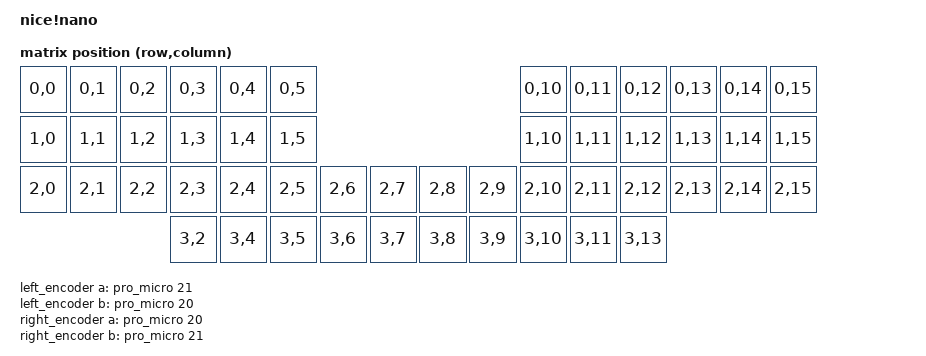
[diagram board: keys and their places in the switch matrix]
/*
 * Copyright (c) 2021 The ZMK Contributors
 *
 * SPDX-License-Identifier: MIT
 */

/dts-v1/;

#include <nordic/nrf52840_qiaa.dtsi>
#include "arduino_pro_micro_pins.dtsi"
#include <dt-bindings/zmk/matrix_transform.h>

/ {
	model = "nice!nano";
	compatible = "nice,nano";

	chosen {
		zephyr,code-partition = &code_partition;
		zephyr,sram = &sram0;
		zephyr,flash = &flash0;
		zmk,underglow = &led_strip;
        zmk,kscan = &kscan0;
        zmk,matrix_transform = &default_transform;
	};

	kscan0: kscan {
		compatible = "zmk,kscan-gpio-matrix";
		label = "KSCAN";

		diode-direction = "col2row";
	};

	leds {
		compatible = "gpio-leds";
		blue_led: led_0 {
			gpios = <&gpio0 15 GPIO_ACTIVE_HIGH>;
			label = "Blue LED";
		};
	};

	ext-power {
    		compatible = "zmk,ext-power-generic";
    		label = "EXT_POWER";
    		control-gpios = <&gpio0 13 GPIO_ACTIVE_HIGH>;
    		init-delay-ms = <50>;
    	};

    	vbatt {
    		compatible = "zmk,battery-nrf-vddh";
    		label = "BATTERY";
    	};



	left_encoder: encoder_left {
		compatible = "alps,ec11";
		label = "LEFT_ENCODER";
		resolution = <4>;
		status = "disabled";
	};

	right_encoder: encoder_right {
		compatible = "alps,ec11";
		label = "RIGHT_ENCODER";
		resolution = <4>;
		status = "disabled";
	};

	sensors {
		compatible = "zmk,keymap-sensors";
		sensors = <&left_encoder &right_encoder>;
	};

	// TODO: RGB node(s)

	default_transform: keymap_transform_0 {
    		compatible = "zmk,matrix-transform";
    		columns = <16>;
    		rows = <4>;
    // | MX6  | MX5  | MX4  | MX3  | MX2  | MX1  |                               | MX1  | MX2  | MX3  | MX4  | MX5  | MX6  |
    // | MX12 | MX11 | MX10 | MX9  | MX8  | MX7  |                               | MX7  | MX8  | MX9  | MX10 | MX11 | MX12 |
    // | MX20 | MX19 | MX18 | MX17 | MX16 | MX15 | MX14 | MX13 |   | MX13 | MX14 | MX15 | MX16 | MX17 | MX18 | MX19 | MX20 |
    //                    | MX25 | MX24 | MX23 | MX22 | MX21 |       | MX21 | MX22 | MX23 | MX24 | MX25 |
    		map = <
    RC(0,0) RC(0,1) RC(0,2) RC(0,3) RC(0,4) RC(0,5)                                 RC(0,10) RC(0,11) RC(0,12) RC(0,13) RC(0,14) RC(0,15)
    RC(1,0) RC(1,1) RC(1,2) RC(1,3) RC(1,4) RC(1,5)                                 RC(1,10) RC(1,11) RC(1,12) RC(1,13) RC(1,14) RC(1,15)
    RC(2,0) RC(2,1) RC(2,2) RC(2,3) RC(2,4) RC(2,5) RC(2,6) RC(2,7) RC(2,8) RC(2,9) RC(2,10) RC(2,11) RC(2,12) RC(2,13) RC(2,14) RC(2,15)
                            RC(3,2) RC(3,4) RC(3,5) RC(3,6) RC(3,7) RC(3,8) RC(3,9) RC(3,10) RC(3,11) RC(3,13)
    		>;
    	};
};

&adc {
	status = "okay";
};

&gpiote {
	status = "okay";
};

&gpio0 {
	status = "okay";
};

&gpio1 {
	status = "okay";
};

&i2c0 {
	compatible = "nordic,nrf-twi";
	sda-pin = <17>;
	scl-pin = <20>;
};

&uart0 {
	compatible = "nordic,nrf-uarte";
	tx-pin = <6>;
	rx-pin = <8>;
};

&usbd {
	status = "okay";
};


&flash0 {
	/*
	 * For more information, see:
	 * http://docs.zephyrproject.org/latest/devices/dts/flash_partitions.html
	 */
	partitions {
		compatible = "fixed-partitions";
		#address-cells = <1>;
		#size-cells = <1>;

		sd_partition: partition@0 {
			label = "softdevice";
			reg = <0x00000000 0x00026000>;
		};
		code_partition: partition@26000 {
			label = "code_partition";
			reg = <0x00026000 0x000c6000>;
		};

		/*
		 * The flash starting at 0x000ec000 and ending at
		 * 0x000f3fff is reserved for use by the application.
		 */

		/*
		 * Storage partition will be used by FCB/LittleFS/NVS
		 * if enabled.
		 */
		storage_partition: partition@ec000 {
			label = "storage";
			reg = <0x000ec000 0x00008000>;
		};

		boot_partition: partition@f4000 {
			label = "adafruit_boot";
			reg = <0x000f4000 0x0000c000>;
		};
	};
};


&pro_micro_i2c {
	status = "okay";

	ssd1306@3c {
		compatible = "solomon,ssd1306fb";
		reg = <0x3c>;
		label = "DISPLAY";
		width = <128>;
		height = <64>;
		segment-offset = <0>;
		page-offset = <0>;
		display-offset = <0>;
		multiplex-ratio = <63>;
		prechargep = <0x22>;
	};
};

&spi1 {
	compatible = "nordic,nrf-spim";
	status = "okay";
	mosi-pin = <6>;
	// Unused pins, needed for SPI definition, but not used by the ws2812 driver itself.
	sck-pin = <5>;
	miso-pin = <7>;

	led_strip: ws2812@0 {
		compatible = "worldsemi,ws2812-spi";
		label = "WS2812";

		/* SPI */
		reg = <0>; /* ignored, but necessary for SPI bindings */
		spi-max-frequency = <4000000>;

		/* WS2812 */
		chain-length = <10>; /* arbitrary; change at will */
		spi-one-frame = <0x70>;
		spi-zero-frame = <0x40>;
	};
};



&left_encoder {
	a-gpios = <&pro_micro 21 (GPIO_ACTIVE_HIGH | GPIO_PULL_UP)>;
	b-gpios = <&pro_micro 20 (GPIO_ACTIVE_HIGH | GPIO_PULL_UP)>;
};

&right_encoder {
	a-gpios = <&pro_micro 20 (GPIO_ACTIVE_HIGH | GPIO_PULL_UP)>;
	b-gpios = <&pro_micro 21 (GPIO_ACTIVE_HIGH | GPIO_PULL_UP)>;
};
